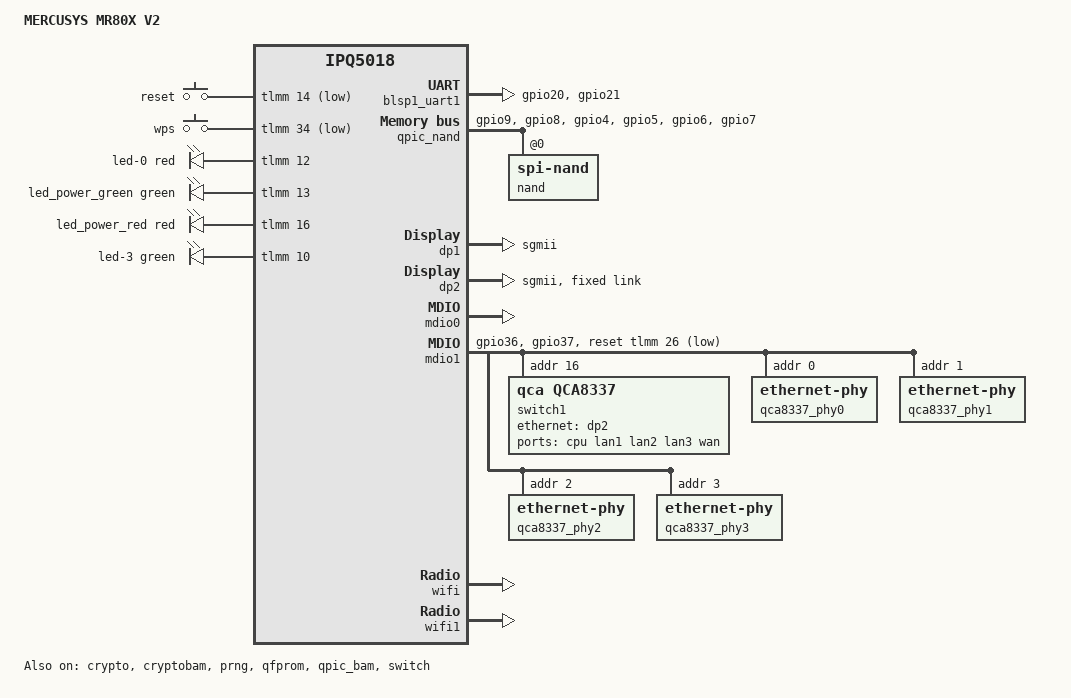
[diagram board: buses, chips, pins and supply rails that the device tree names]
// SPDX-License-Identifier: GPL-2.0-or-later OR MIT

/dts-v1/;

#include "ipq5018.dtsi"
#include "ipq5018-ess.dtsi"
#include "ipq5018-qcn6122.dtsi"

#include <dt-bindings/gpio/gpio.h>
#include <dt-bindings/input/input.h>
#include <dt-bindings/leds/common.h>

/ {
	model = "MERCUSYS MR80X V2";
	compatible = "mercusys,mr80x-v2", "qcom,ipq5018";
	
	aliases {
		serial0 = &blsp1_uart1;
		led-boot = &led_power_green;
		led-failsafe = &led_power_red;
		led-running = &led_power_green;
		led-upgrade = &led_power_green;
	};
	
	chosen {
		bootargs-append = " root=/dev/ubiblock0_1 swiotlb=1 coherent_pool=2M";
		stdout-path = "serial0:115200n8";
	};
	
	keys {
		compatible = "gpio-keys";
		pinctrl-0 = <&button_pins>;
		pinctrl-names = "default";
		
		reset-button {
			label = "reset";
			gpios = <&tlmm 14 GPIO_ACTIVE_LOW>;
			linux,code = <KEY_RESTART>;
		};
		wps-button {
			label = "wps";
			gpios = <&tlmm 34 GPIO_ACTIVE_LOW>;
			linux,code = <KEY_WPS_BUTTON>;
		};
	};
	
	leds {
		compatible = "gpio-leds";
		pinctrl-0 = <&led_pins>;
		pinctrl-names = "default";
		
		led-0 {
			gpios = <&tlmm 12 GPIO_ACTIVE_HIGH>;
			color = <LED_COLOR_ID_RED>;
			function = LED_FUNCTION_WPS;
		};
		
		led_power_green: led-1 {
			gpios = <&tlmm 13 GPIO_ACTIVE_HIGH>;
			color = <LED_COLOR_ID_GREEN>;
			function = LED_FUNCTION_POWER;
		};
		
		led_power_red: led-2 {
			gpios = <&tlmm 16 GPIO_ACTIVE_HIGH>;
			color = <LED_COLOR_ID_RED>;
			function = LED_FUNCTION_POWER;
		};
		
		led-3 {
			gpios = <&tlmm 10 GPIO_ACTIVE_HIGH>;
			color = <LED_COLOR_ID_GREEN>;
			function = LED_FUNCTION_WAN;
		};
	};
};

&sleep_clk {
	clock-frequency = <32000>;
};

&xo_board_clk {
	clock-div = <4>;
	clock-mult = <1>;
};

&blsp1_uart1 {
	status = "okay";
	
	pinctrl-0 = <&serial_0_pins>;
	pinctrl-names = "default";
};

&crypto {
	status = "okay";
};

&cryptobam {
	status = "okay";
};

&prng {
	status = "okay";
};

&qfprom {
	status = "okay";
};

&qpic_bam {
	status = "okay";
};

&qpic_nand {
	pinctrl-0 = <&qpic_pins>;
	pinctrl-names = "default";
	status = "okay";
	
	nand@0 {
		compatible = "spi-nand";
		reg = <0>;
		nand-ecc-engine = <&qpic_nand>;
		nand-bus-width = <8>;
		
		partitions {
			compatible = "qcom,smem-part";
		};
	};
};

&switch {
	status = "ok";
	
	switch_mac_mode = <MAC_MODE_SGMII_CHANNEL0>;
	
	qcom,port_phyinfo {
		port@0 {
			port_id = <1>;
			mdiobus = <&mdio0>;
			phy_address = <7>;
		};
		port@1 {
			forced-duplex = <1>;
			forced-speed = <1000>;
			port_id = <2>;
		};
	};
};

&dp1 {
	status = "ok";
	phy-mode = "sgmii";
};

&dp2 {
	status = "ok";
	phy-mode = "sgmii";

	fixed-link {
		speed = <1000>;
		full-duplex;
	};
};

&mdio0 {
	status = "okay";
};
&mdio1 {
	status = "okay";
	pinctrl-0 = <&mdio1_pins>;
	pinctrl-names = "default";
	reset-gpios = <&tlmm 26 GPIO_ACTIVE_LOW>;
	
	switch1: ethernet-switch@16 {
		compatible = "qca,qca8337";
		reg = <16>;
		#address-cells = <1>;
		#size-cells = <0>;
		
		ports {
			#address-cells = <1>;
			#size-cells = <0>;
			
			port@6 {
				reg = <6>;
				label = "cpu";
				ethernet = <&dp2>;
				phy-mode = "sgmii";
				qca,sgmii-enable-pll;

				fixed-link {
					speed = <1000>;
					full-duplex;
				};
			};
			port@1 {
				reg = <1>;
				label = "lan1";
				phy-handle = <&qca8337_phy0>;
			};
			
			port@2 {
				reg = <2>;
				label = "lan2";
				phy-handle = <&qca8337_phy1>;
			};
			
			port@3 {
				reg = <3>;
				label = "lan3";
				phy-handle = <&qca8337_phy2>;
			};
			port@4 {
				reg = <4>;
				label = "wan";
				phy-handle = <&qca8337_phy3>;
			};
		};
	};
	
	qca8337_phy0: ethernet-phy@0 {
		reg = <0>;
	};
	
	qca8337_phy1: ethernet-phy@1 {
		reg = <1>;
	};
	
	qca8337_phy2: ethernet-phy@2 {
		reg = <2>;
	};
	qca8337_phy3: ethernet-phy@3 {
		reg = <3>;
	};
};

&tlmm {
	button_pins: button-state {
		button-pins {
			pins = "gpio34", "gpio14";
			function = "gpio";
			drive-strength = <8>;
			bias-pull-up;
		};
	};
	led_pins: led-state {
		pins = "gpio12", "gpio13", "gpio16", "gpio10";
		function = "gpio";
		drive-strength = <8>;
		bias-pull-down;
	};
	mdio1_pins: mdio-state {
		mdc-pins {
			pins = "gpio36";
			function = "mdc";
			drive-strength = <8>;
			bias-pull-up;
		};
		
		mdio-pins {
			pins = "gpio37";
			function = "mdio";
			drive-strength = <8>;
			bias-pull-up;
		};
	};
	
	qpic_pins: qpic-state {
		clock-pins {
			pins = "gpio9";
			function = "qspi_clk";
			drive-strength = <8>;
			bias-disable;
		};
		
		cs-pins {
			pins = "gpio8";
			function = "qspi_cs";
			drive-strength = <8>;
			bias-disable;
		};
		
		data-pins {
			pins = "gpio4", "gpio5", "gpio6", "gpio7";
			function = "qspi_data";
			drive-strength = <8>;
			bias-disable;
		};
	};
	
	serial_0_pins: uart0-state {
		pins = "gpio20", "gpio21";
		function = "blsp0_uart0";
		bias-disable;
	};
};
&wifi {
	status = "okay";
	
	qcom,rproc = <&q6_wcss_pd1>;
	qcom,userpd-subsys-name = "q6v5_wcss_userpd1";
	qcom,board_id = <0x24>;
	qcom,ath11k-fw-memory-mode = <1>;
	qcom,bdf-addr = <0x4c400000>;
};

&wifi1 {
	status = "okay";
	
	qcom,rproc = <&q6_wcss_pd2>;
	qcom,userpd-subsys-name = "q6v5_wcss_userpd2";
	qcom,board_id = <0x60>;
	qcom,ath11k-fw-memory-mode = <1>;
	qcom,bdf-addr = <0x4d100000>;
	qcom,m3-dump-addr = <0x4df00000>;
};
